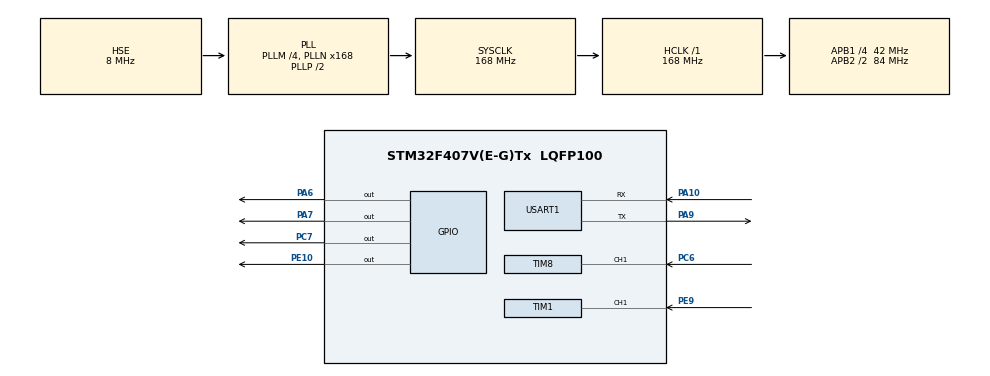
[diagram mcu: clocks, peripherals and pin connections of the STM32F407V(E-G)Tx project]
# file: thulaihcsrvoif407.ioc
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Mcu.Family=STM32F4
Mcu.Name=STM32F407V(E-G)Tx
Mcu.Package=LQFP100
NVIC.PriorityGroup=NVIC_PRIORITYGROUP_4
NVIC.TIM1_CC_IRQn=true\:2\:0\:true\:false\:true\:true\:true\:true
NVIC.TIM8_CC_IRQn=true\:2\:0\:true\:false\:true\:true\:true\:true
PA10.Mode=Asynchronous
PA10.Signal=USART1_RX
PA13.Mode=Serial_Wire
PA13.Signal=SYS_JTMS-SWDIO
PA14.Mode=Serial_Wire
PA14.Signal=SYS_JTCK-SWCLK
PA6.Signal=GPIO_Output
PA7.Signal=GPIO_Output
PA9.Mode=Asynchronous
PA9.Signal=USART1_TX
PC6.Signal=S_TIM8_CH1
PC7.Signal=GPIO_Output
PE10.Signal=GPIO_Output
PE9.Signal=S_TIM1_CH1
PH0-OSC_IN.Mode=HSE-External-Oscillator
PH0-OSC_IN.Signal=RCC_OSC_IN
PH1-OSC_OUT.Mode=HSE-External-Oscillator
PH1-OSC_OUT.Signal=RCC_OSC_OUT
ProjectManager.HeapSize=0x200
ProjectManager.StackSize=0x400
ProjectManager.TargetToolchain=STM32CubeIDE
RCC.48MHZClocksFreq_Value=84000000
RCC.AHBFreq_Value=168000000
RCC.APB1CLKDivider=RCC_HCLK_DIV4
RCC.APB1Freq_Value=42000000
RCC.APB1TimFreq_Value=84000000
RCC.APB2CLKDivider=RCC_HCLK_DIV2
RCC.APB2Freq_Value=84000000
RCC.APB2TimFreq_Value=168000000
RCC.CortexFreq_Value=168000000
RCC.HCLKFreq_Value=168000000
RCC.HSE_VALUE=8000000
RCC.HSI_VALUE=16000000
RCC.LSE_VALUE=32768
RCC.PLLM=4
RCC.PLLN=168
RCC.PLLSourceVirtual=RCC_PLLSOURCE_HSE
RCC.SYSCLKFreq_VALUE=168000000
RCC.SYSCLKSource=RCC_SYSCLKSOURCE_PLLCLK
RCC.VCOOutputFreq_Value=336000000
SH.S_TIM1_CH1.0=TIM1_CH1,Input_Capture1_from_TI1
SH.S_TIM8_CH1.0=TIM8_CH1,Input_Capture1_from_TI1
TIM1.Channel-Input_Capture1_from_TI1=TIM_CHANNEL_1
TIM1.Prescaler=167
TIM8.Channel-Input_Capture1_from_TI1=TIM_CHANNEL_1
TIM8.Prescaler=167
USART1.VirtualMode=VM_ASYNC
VP_TIM1_VS_ClockSourceINT.Mode=Internal
VP_TIM8_VS_ClockSourceINT.Mode=Internal
board=custom

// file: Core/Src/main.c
/* USER CODE BEGIN Header */
/**
  ******************************************************************************
  * @file           : main.c
  * @brief          : Main program body
  ******************************************************************************
  */
/* USER CODE END Header */
#include "main.h"

/* USER CODE BEGIN Includes */
#include "hcsr04.h"
#include "stdio.h"
#include "string.h"
/* USER CODE END Includes */

TIM_HandleTypeDef htim1;
TIM_HandleTypeDef htim8;

UART_HandleTypeDef huart1;

/* USER CODE BEGIN PV */
HCSR04_Cliff_t my_hcsr04_1;
HCSR04_Cliff_t my_hcsr04_2;

volatile float   debug_dist_1 = 0.0f, debug_dist_2 = 0.0f;
volatile uint8_t filter_1 = 0, filter_2 = 0;
volatile uint8_t flag_cliff_1 = 0, flag_cliff_2 = 0;

uint32_t last_ping_time  = 0;
uint8_t  current_sensor  = 1;

/* USER CODE END PV */

void SystemClock_Config(void);
static void MX_GPIO_Init(void);
static void MX_TIM1_Init(void);
static void MX_TIM8_Init(void);
static void MX_USART1_UART_Init(void);

/* USER CODE BEGIN 0 */
char a[200];
void Callback_Sensor1(HCSR04_Cliff_t* dev) { flag_cliff_1 = 1; }
void Callback_Sensor2(HCSR04_Cliff_t* dev) { flag_cliff_2 = 1; }

void HAL_TIM_IC_CaptureCallback(TIM_HandleTypeDef *htim)
{
    /* Bắt ngắt chung, quăng hết vào đây, hàm mới sẽ tự phân loại channel */
    HCSR04_Cliff_Capture_Callback(&my_hcsr04_1, htim);
    HCSR04_Cliff_Capture_Callback(&my_hcsr04_2, htim);
}
/* USER CODE END 0 */

int main(void)
{

  /* MCU Configuration--------------------------------------------------------*/
  HAL_Init();

  /* Configure the system clock */
  SystemClock_Config();

  /* Initialize all configured peripherals */
  MX_GPIO_Init();
  MX_TIM1_Init();
  MX_TIM8_Init();
  MX_USART1_UART_Init();

  /* USER CODE BEGIN 2 */
  char b[] = "ok\n";
  HAL_UART_Transmit(&huart1, (uint8_t*)b, strlen(b), 10);

  // Khởi tạo 2 cảm biến (hàm Init đã tự động gọi Start ngầm bên trong)
  // Sensor 1: TRIG = PE10, ECHO = PA8 (TIM1_CH1)
  HCSR04_Cliff_Init(&my_hcsr04_1, GPIOE, GPIO_PIN_10, &htim1, TIM_CHANNEL_1, 10.0f, Callback_Sensor1);
  // Sensor 2: TRIG = PC7, ECHO = PC6 (TIM8_CH1)
  HCSR04_Cliff_Init(&my_hcsr04_2, GPIOC, GPIO_PIN_7,  &htim8, TIM_CHANNEL_1, 10.0f, Callback_Sensor2);

  HAL_UART_Transmit(&huart1, (uint8_t*)b, strlen(b), 10);

  uint32_t last_print_time = 0;
  /* USER CODE END 2 */

  /* Infinite loop */
  /* USER CODE BEGIN WHILE */
  while (1)
  {
      // 1. Luân phiên kích hoạt đo (Ping) mỗi 50ms
      if (HAL_GetTick() - last_ping_time > 50)
      {
          if (current_sensor == 1 && my_hcsr04_1.state == HCSR04_IDLE_STATE) {
              HCSR04_Cliff_Start(&my_hcsr04_1);
              current_sensor = 2;
              last_ping_time = HAL_GetTick();
          }
          else if (current_sensor == 2 && my_hcsr04_2.state == HCSR04_IDLE_STATE) {
              HCSR04_Cliff_Start(&my_hcsr04_2);
              current_sensor = 1;
              last_ping_time = HAL_GetTick();
          }
      }

      // 2. Xử lý State Machine liên tục (Non-blocking)
      HCSR04_Cliff_Handle(&my_hcsr04_1);
      HCSR04_Cliff_Handle(&my_hcsr04_2);

      // Cập nhật biến để debug
      debug_dist_1 = my_hcsr04_1.distance;
      debug_dist_2 = my_hcsr04_2.distance;
      filter_1 = my_hcsr04_1.filter_count;
      filter_2 = my_hcsr04_2.filter_count;

      // 3. Điều khiển LED báo động dựa vào bộ lọc nhiễu
      if (my_hcsr04_1.filter_count >= 2) {
          HAL_GPIO_WritePin(GPIOA, GPIO_PIN_6, GPIO_PIN_SET);
      } else {
          HAL_GPIO_WritePin(GPIOA, GPIO_PIN_6, GPIO_PIN_RESET);
      }

      if (my_hcsr04_2.filter_count >= 2) {
          HAL_GPIO_WritePin(GPIOA, GPIO_PIN_7, GPIO_PIN_SET);
      } else {
          HAL_GPIO_WritePin(GPIOA, GPIO_PIN_7, GPIO_PIN_RESET);
      }

      // 4. In debug UART mỗi 200ms (Không dùng HAL_Delay)
      if (HAL_GetTick() - last_print_time > 200)
      {
          int d1_nguyen = (int)debug_dist_1;
          int d1_thapphan = (int)((debug_dist_1 - d1_nguyen) * 10);

          int d2_nguyen = (int)debug_dist_2;
          int d2_thapphan = (int)((debug_dist_2 - d2_nguyen) * 10);

          sprintf(a, "S1: %d.%d cm (f:%u) | S2: %d.%d cm (f:%u)\r\n",
                  d1_nguyen, d1_thapphan, filter_1,
                  d2_nguyen, d2_thapphan, filter_2);

          HAL_UART_Transmit(&huart1, (uint8_t*)a, strlen(a), 10);
          last_print_time = HAL_GetTick();
      }

    /* USER CODE END WHILE */

  }
}

void SystemClock_Config(void)
{
  RCC_OscInitTypeDef RCC_OscInitStruct = {0};
  RCC_ClkInitTypeDef RCC_ClkInitStruct = {0};

  __HAL_RCC_PWR_CLK_ENABLE();
  __HAL_PWR_VOLTAGESCALING_CONFIG(PWR_REGULATOR_VOLTAGE_SCALE1);

  RCC_OscInitStruct.OscillatorType = RCC_OSCILLATORTYPE_HSE;
  RCC_OscInitStruct.HSEState = RCC_HSE_ON;
  RCC_OscInitStruct.PLL.PLLState = RCC_PLL_ON;
  RCC_OscInitStruct.PLL.PLLSource = RCC_PLLSOURCE_HSE;
  RCC_OscInitStruct.PLL.PLLM = 4;
  RCC_OscInitStruct.PLL.PLLN = 168;
  RCC_OscInitStruct.PLL.PLLP = RCC_PLLP_DIV2;
  RCC_OscInitStruct.PLL.PLLQ = 4;
  if (HAL_RCC_OscConfig(&RCC_OscInitStruct) != HAL_OK)
  {
    Error_Handler();
  }

  RCC_ClkInitStruct.ClockType = RCC_CLOCKTYPE_HCLK|RCC_CLOCKTYPE_SYSCLK
                              |RCC_CLOCKTYPE_PCLK1|RCC_CLOCKTYPE_PCLK2;
  RCC_ClkInitStruct.SYSCLKSource = RCC_SYSCLKSOURCE_PLLCLK;
  RCC_ClkInitStruct.AHBCLKDivider = RCC_SYSCLK_DIV1;
  RCC_ClkInitStruct.APB1CLKDivider = RCC_HCLK_DIV4;
  RCC_ClkInitStruct.APB2CLKDivider = RCC_HCLK_DIV2;

  if (HAL_RCC_ClockConfig(&RCC_ClkInitStruct, FLASH_LATENCY_5) != HAL_OK)
  {
    Error_Handler();
  }
}

static void MX_TIM1_Init(void)
{
  TIM_ClockConfigTypeDef sClockSourceConfig = {0};
  TIM_MasterConfigTypeDef sMasterConfig = {0};
  TIM_IC_InitTypeDef sConfigIC = {0};

  htim1.Instance = TIM1;
  htim1.Init.Prescaler = 167;
  htim1.Init.CounterMode = TIM_COUNTERMODE_UP;
  htim1.Init.Period = 65535;
  htim1.Init.ClockDivision = TIM_CLOCKDIVISION_DIV1;
  htim1.Init.RepetitionCounter = 0;
  htim1.Init.AutoReloadPreload = TIM_AUTORELOAD_PRELOAD_DISABLE;
  if (HAL_TIM_Base_Init(&htim1) != HAL_OK)
  {
    Error_Handler();
  }
  sClockSourceConfig.ClockSource = TIM_CLOCKSOURCE_INTERNAL;
  if (HAL_TIM_ConfigClockSource(&htim1, &sClockSourceConfig) != HAL_OK)
  {
    Error_Handler();
  }
  if (HAL_TIM_IC_Init(&htim1) != HAL_OK)
  {
    Error_Handler();
  }
  sMasterConfig.MasterOutputTrigger = TIM_TRGO_RESET;
  sMasterConfig.MasterSlaveMode = TIM_MASTERSLAVEMODE_DISABLE;
  if (HAL_TIMEx_MasterConfigSynchronization(&htim1, &sMasterConfig) != HAL_OK)
  {
    Error_Handler();
  }
  sConfigIC.ICPolarity = TIM_INPUTCHANNELPOLARITY_RISING;
  sConfigIC.ICSelection = TIM_ICSELECTION_DIRECTTI;
  sConfigIC.ICPrescaler = TIM_ICPSC_DIV1;
  sConfigIC.ICFilter = 0;
  if (HAL_TIM_IC_ConfigChannel(&htim1, &sConfigIC, TIM_CHANNEL_1) != HAL_OK)
  {
    Error_Handler();
  }
}

static void MX_TIM8_Init(void)
{
  TIM_ClockConfigTypeDef sClockSourceConfig = {0};
  TIM_MasterConfigTypeDef sMasterConfig = {0};
  TIM_IC_InitTypeDef sConfigIC = {0};

  htim8.Instance = TIM8;
  htim8.Init.Prescaler = 167;
  htim8.Init.CounterMode = TIM_COUNTERMODE_UP;
  htim8.Init.Period = 65535;
  htim8.Init.ClockDivision = TIM_CLOCKDIVISION_DIV1;
  htim8.Init.RepetitionCounter = 0;
  htim8.Init.AutoReloadPreload = TIM_AUTORELOAD_PRELOAD_DISABLE;
  if (HAL_TIM_Base_Init(&htim8) != HAL_OK)
  {
    Error_Handler();
  }
  sClockSourceConfig.ClockSource = TIM_CLOCKSOURCE_INTERNAL;
  if (HAL_TIM_ConfigClockSource(&htim8, &sClockSourceConfig) != HAL_OK)
  {
    Error_Handler();
  }
  if (HAL_TIM_IC_Init(&htim8) != HAL_OK)
  {
    Error_Handler();
  }
  sMasterConfig.MasterOutputTrigger = TIM_TRGO_RESET;
  sMasterConfig.MasterSlaveMode = TIM_MASTERSLAVEMODE_DISABLE;
  if (HAL_TIMEx_MasterConfigSynchronization(&htim8, &sMasterConfig) != HAL_OK)
  {
    Error_Handler();
  }
  sConfigIC.ICPolarity = TIM_INPUTCHANNELPOLARITY_RISING;
  sConfigIC.ICSelection = TIM_ICSELECTION_DIRECTTI;
  sConfigIC.ICPrescaler = TIM_ICPSC_DIV1;
  sConfigIC.ICFilter = 0;
  if (HAL_TIM_IC_ConfigChannel(&htim8, &sConfigIC, TIM_CHANNEL_1) != HAL_OK)
  {
    Error_Handler();
  }
}

static void MX_USART1_UART_Init(void)
{
  huart1.Instance = USART1;
  huart1.Init.BaudRate = 115200;
  huart1.Init.WordLength = UART_WORDLENGTH_8B;
  huart1.Init.StopBits = UART_STOPBITS_1;
  huart1.Init.Parity = UART_PARITY_NONE;
  huart1.Init.Mode = UART_MODE_TX_RX;
  huart1.Init.HwFlowCtl = UART_HWCONTROL_NONE;
  huart1.Init.OverSampling = UART_OVERSAMPLING_16;
  if (HAL_UART_Init(&huart1) != HAL_OK)
  {
    Error_Handler();
  }
}

static void MX_GPIO_Init(void)
{
  GPIO_InitTypeDef GPIO_InitStruct = {0};

  /* GPIO Ports Clock Enable */
  __HAL_RCC_GPIOH_CLK_ENABLE();
  __HAL_RCC_GPIOA_CLK_ENABLE();
  __HAL_RCC_GPIOE_CLK_ENABLE();
  __HAL_RCC_GPIOC_CLK_ENABLE();

  /*Configure GPIO pin Output Level */
  HAL_GPIO_WritePin(GPIOA, GPIO_PIN_6|GPIO_PIN_7, GPIO_PIN_RESET);

  /*Configure GPIO pin Output Level */
  HAL_GPIO_WritePin(GPIOE, GPIO_PIN_10, GPIO_PIN_RESET);

  /*Configure GPIO pin Output Level */
  HAL_GPIO_WritePin(GPIOC, GPIO_PIN_7, GPIO_PIN_RESET);

  /*Configure GPIO pins : PA6 PA7 */
  GPIO_InitStruct.Pin = GPIO_PIN_6|GPIO_PIN_7;
  GPIO_InitStruct.Mode = GPIO_MODE_OUTPUT_PP;
  GPIO_InitStruct.Pull = GPIO_NOPULL;
  GPIO_InitStruct.Speed = GPIO_SPEED_FREQ_LOW;
  HAL_GPIO_Init(GPIOA, &GPIO_InitStruct);

  /*Configure GPIO pin : PE10 */
  GPIO_InitStruct.Pin = GPIO_PIN_10;
  GPIO_InitStruct.Mode = GPIO_MODE_OUTPUT_PP;
  GPIO_InitStruct.Pull = GPIO_NOPULL;
  GPIO_InitStruct.Speed = GPIO_SPEED_FREQ_LOW;
  HAL_GPIO_Init(GPIOE, &GPIO_InitStruct);

  /*Configure GPIO pin : PC7 */
  GPIO_InitStruct.Pin = GPIO_PIN_7;
  GPIO_InitStruct.Mode = GPIO_MODE_OUTPUT_PP;
  GPIO_InitStruct.Pull = GPIO_NOPULL;
  GPIO_InitStruct.Speed = GPIO_SPEED_FREQ_LOW;
  HAL_GPIO_Init(GPIOC, &GPIO_InitStruct);
}

void Error_Handler(void)
{
  __disable_irq();
  while (1)
  {
  }
}
